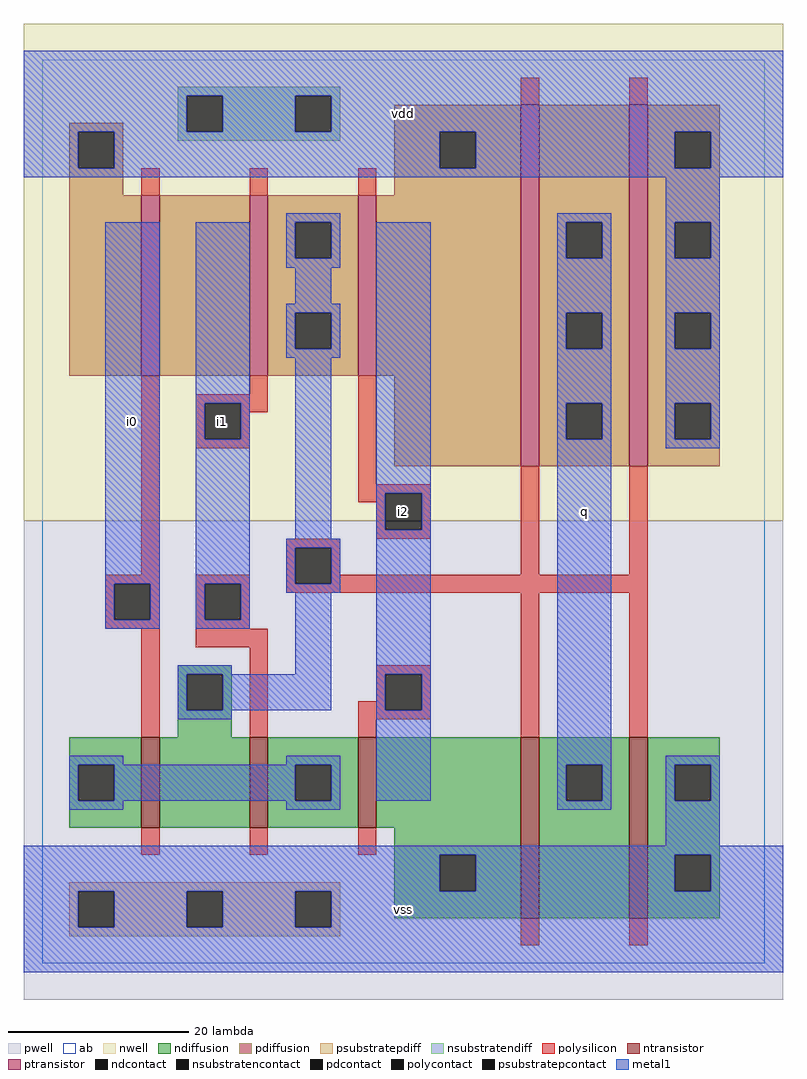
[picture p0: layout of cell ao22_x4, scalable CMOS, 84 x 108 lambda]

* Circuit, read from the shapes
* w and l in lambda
.subckt ao22_x4 i0 i1 i2 q vdd vss
M1 n1 i0 n2 vss nfet w=10 l=2
M2 n2 i1 n1 vss nfet w=10 l=2
M3 vss i2 n2 vss nfet w=10 l=2
M4 q n1 vss vss nfet w=20 l=2 m=2
M5 n3 i0 vdd vdd pfet w=20 l=2
M6 n1 i1 n3 vdd pfet w=20 l=2
M7 vdd i2 n1 vdd pfet w=20 l=2
M8 q n1 vdd vdd pfet w=40 l=2 m=2
.ends

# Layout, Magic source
magic
tech scmos
<< ab >>
rect 0 0 80 100
<< pwell >>
rect -2 -4 82 49
<< nwell >>
rect -2 49 82 104
<< polysilicon >>
rect 53 95 55 98
rect 65 95 67 98
rect 11 85 13 88
rect 23 85 25 88
rect 35 85 37 88
rect 11 43 13 65
rect 23 63 25 65
rect 17 62 25 63
rect 17 58 18 62
rect 22 61 25 62
rect 22 58 23 61
rect 17 57 23 58
rect 35 53 37 65
rect 35 52 43 53
rect 35 51 38 52
rect 37 48 38 51
rect 42 48 43 52
rect 37 47 43 48
rect 27 46 33 47
rect 7 42 13 43
rect 7 38 8 42
rect 12 38 13 42
rect 7 37 13 38
rect 11 25 13 37
rect 17 42 23 43
rect 17 38 18 42
rect 22 38 23 42
rect 27 42 28 46
rect 32 43 33 46
rect 53 43 55 55
rect 65 43 67 55
rect 32 42 67 43
rect 27 41 67 42
rect 17 37 23 38
rect 17 35 25 37
rect 23 25 25 35
rect 37 32 43 33
rect 37 29 38 32
rect 35 28 38 29
rect 42 28 43 32
rect 35 27 43 28
rect 35 25 37 27
rect 53 25 55 41
rect 65 25 67 41
rect 11 12 13 15
rect 23 12 25 15
rect 35 12 37 15
rect 53 2 55 5
rect 65 2 67 5
<< ndiffusion >>
rect 15 32 21 33
rect 15 28 16 32
rect 20 28 21 32
rect 15 25 21 28
rect 3 22 11 25
rect 3 18 4 22
rect 8 18 11 22
rect 3 15 11 18
rect 13 15 23 25
rect 25 22 35 25
rect 25 18 28 22
rect 32 18 35 22
rect 25 15 35 18
rect 37 15 53 25
rect 39 12 53 15
rect 39 8 44 12
rect 48 8 53 12
rect 39 5 53 8
rect 55 22 65 25
rect 55 18 58 22
rect 62 18 65 22
rect 55 5 65 18
rect 67 22 75 25
rect 67 18 70 22
rect 74 18 75 22
rect 67 12 75 18
rect 67 8 70 12
rect 74 8 75 12
rect 67 5 75 8
<< pdiffusion >>
rect 3 92 9 93
rect 3 88 4 92
rect 8 88 9 92
rect 39 92 53 95
rect 39 88 44 92
rect 48 88 53 92
rect 3 85 9 88
rect 39 85 53 88
rect 3 65 11 85
rect 13 65 23 85
rect 25 82 35 85
rect 25 78 28 82
rect 32 78 35 82
rect 25 72 35 78
rect 25 68 28 72
rect 32 68 35 72
rect 25 65 35 68
rect 37 65 53 85
rect 39 55 53 65
rect 55 82 65 95
rect 55 78 58 82
rect 62 78 65 82
rect 55 72 65 78
rect 55 68 58 72
rect 62 68 65 72
rect 55 62 65 68
rect 55 58 58 62
rect 62 58 65 62
rect 55 55 65 58
rect 67 92 75 95
rect 67 88 70 92
rect 74 88 75 92
rect 67 82 75 88
rect 67 78 70 82
rect 74 78 75 82
rect 67 72 75 78
rect 67 68 70 72
rect 74 68 75 72
rect 67 62 75 68
rect 67 58 70 62
rect 74 58 75 62
rect 67 55 75 58
<< metal1 >>
rect -2 96 82 101
rect -2 92 16 96
rect 20 92 28 96
rect 32 92 82 96
rect -2 88 4 92
rect 8 88 44 92
rect 48 88 70 92
rect 74 88 82 92
rect -2 87 82 88
rect 27 82 33 83
rect 57 82 63 83
rect 7 42 13 82
rect 7 38 8 42
rect 12 38 13 42
rect 7 37 13 38
rect 17 62 23 82
rect 27 78 28 82
rect 32 78 33 82
rect 27 77 33 78
rect 28 73 32 77
rect 27 72 33 73
rect 27 68 28 72
rect 32 68 33 72
rect 27 67 33 68
rect 17 58 18 62
rect 22 58 23 62
rect 17 42 23 58
rect 28 47 32 67
rect 37 52 43 82
rect 37 48 38 52
rect 42 48 43 52
rect 17 38 18 42
rect 22 38 23 42
rect 27 46 33 47
rect 27 42 28 46
rect 32 42 33 46
rect 27 41 33 42
rect 17 37 23 38
rect 15 32 21 33
rect 28 32 32 41
rect 15 28 16 32
rect 20 28 32 32
rect 37 32 43 48
rect 37 28 38 32
rect 42 28 43 32
rect 15 27 21 28
rect 3 22 9 23
rect 27 22 33 23
rect 3 18 4 22
rect 8 18 28 22
rect 32 18 33 22
rect 37 18 43 28
rect 57 78 58 82
rect 62 78 63 82
rect 57 72 63 78
rect 57 68 58 72
rect 62 68 63 72
rect 57 62 63 68
rect 57 58 58 62
rect 62 58 63 62
rect 57 22 63 58
rect 69 82 75 87
rect 69 78 70 82
rect 74 78 75 82
rect 69 72 75 78
rect 69 68 70 72
rect 74 68 75 72
rect 69 62 75 68
rect 69 58 70 62
rect 74 58 75 62
rect 69 57 75 58
rect 57 18 58 22
rect 62 18 63 22
rect 3 17 9 18
rect 27 17 33 18
rect 57 17 63 18
rect 69 22 75 23
rect 69 18 70 22
rect 74 18 75 22
rect 69 13 75 18
rect -2 12 82 13
rect -2 8 44 12
rect 48 8 70 12
rect 74 8 82 12
rect -2 4 4 8
rect 8 4 16 8
rect 20 4 28 8
rect 32 4 82 8
rect -2 -1 82 4
<< ntransistor >>
rect 11 15 13 25
rect 23 15 25 25
rect 35 15 37 25
rect 53 5 55 25
rect 65 5 67 25
<< ptransistor >>
rect 11 65 13 85
rect 23 65 25 85
rect 35 65 37 85
rect 53 55 55 95
rect 65 55 67 95
<< polycontact >>
rect 18 58 22 62
rect 38 48 42 52
rect 8 38 12 42
rect 18 38 22 42
rect 28 42 32 46
rect 38 28 42 32
<< ndcontact >>
rect 16 28 20 32
rect 4 18 8 22
rect 28 18 32 22
rect 44 8 48 12
rect 58 18 62 22
rect 70 18 74 22
rect 70 8 74 12
<< pdcontact >>
rect 4 88 8 92
rect 44 88 48 92
rect 28 78 32 82
rect 28 68 32 72
rect 58 78 62 82
rect 58 68 62 72
rect 58 58 62 62
rect 70 88 74 92
rect 70 78 74 82
rect 70 68 74 72
rect 70 58 74 62
<< psubstratepcontact >>
rect 4 4 8 8
rect 16 4 20 8
rect 28 4 32 8
<< nsubstratencontact >>
rect 16 92 20 96
rect 28 92 32 96
<< psubstratepdiff >>
rect 3 8 33 9
rect 3 4 4 8
rect 8 4 16 8
rect 20 4 28 8
rect 32 4 33 8
rect 3 3 33 4
<< nsubstratendiff >>
rect 15 96 33 97
rect 15 92 16 96
rect 20 92 28 96
rect 32 92 33 96
rect 15 91 33 92
<< labels >>
rlabel metal1 10 60 10 60 6 i0
rlabel metal1 10 60 10 60 6 i0
rlabel polycontact 20 60 20 60 6 i1
rlabel polycontact 20 60 20 60 6 i1
rlabel metal1 40 6 40 6 6 vss
rlabel metal1 40 6 40 6 6 vss
rlabel metal1 60 50 60 50 6 q
rlabel metal1 60 50 60 50 6 q
rlabel polycontact 40 50 40 50 6 i2
rlabel polycontact 40 50 40 50 6 i2
rlabel metal1 40 94 40 94 6 vdd
rlabel metal1 40 94 40 94 6 vdd
<< end >>
